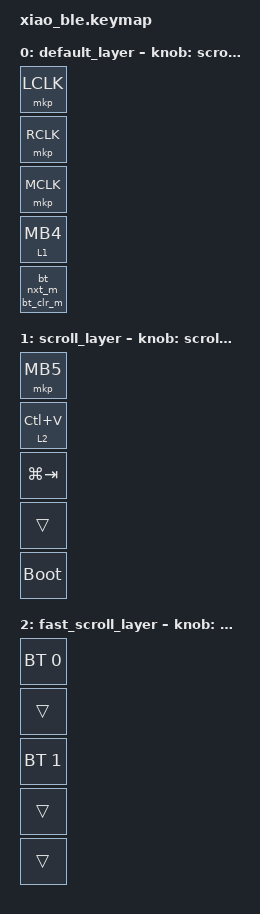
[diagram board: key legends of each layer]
#include <behaviors.dtsi>
#include <dt-bindings/zmk/keys.h>
#include <dt-bindings/zmk/bt.h>
#include <dt-bindings/zmk/pointing.h>

/ {
    // ==========================================================
    // Combos / 同時押しコンボ設定
    // ==========================================================
    combos {
        compatible = "zmk,combos";

        // Layer 0: Left Click + Right Click = Copy (Ctrl + C)
        // レイヤー0：左クリック ＋ 右クリック ＝ コピー (Ctrl + C)
        combo_copy {
            timeout-ms = <50>;
            key-positions = <0 1>; // 0: LCLK, 1: RCLK
            bindings = <&kp LC(C)>;
            layers = <0>;
        };

        // Layer 1 (While holding Side): Left Click + Right Click = Snipping Tool (Win + Shift + S)
        // レイヤー1（サイド押下中）：左右同時押し ＝ スニッピングツール (Win + Shift + S)
        combo_snip {
            timeout-ms = <50>;
            key-positions = <0 1>; // 0: LCLK, 1: RCLK
            bindings = <&snipping_tool>;
            layers = <1>;
        };
    };

    // ==========================================================
    // Macros / マクロ定義
    // ==========================================================
    macros {
        // Snipping Tool Macro (Guarantees modifier hold sequence for Windows)
        // スニッピングツール専用マクロ（修飾キーの同時押し順序を保証）
        snipping_tool: snipping_tool_macro {
            compatible = "zmk,behavior-macro";
            #binding-cells = <0>;
            wait-ms = <10>;
            tap-ms = <20>;
            bindings
                = <&macro_press &kp LGUI &kp LSHFT>
                , <&macro_tap &kp S>
                , <&macro_release &kp LGUI &kp LSHFT>;
        };

        // Next Bluetooth profile macro
        // 次のBluetoothプロファイルへ切り替え
        bt_nxt_m: bt_nxt_macro {
            compatible = "zmk,behavior-macro";
            #binding-cells = <0>;
            bindings = <&bt BT_NXT>;
        };

        // Clear current Bluetooth profile macro
        // 現在のBluetoothプロファイルのペアリング解除
        bt_clr_m: bt_clr_macro {
            compatible = "zmk,behavior-macro";
            #binding-cells = <0>;
            bindings = <&bt BT_CLR>;
        };
    };

    // ==========================================================
    // Custom Behaviors / カスタム動作定義
    // ==========================================================
    behaviors {
        // SW4 (Side): Tap for MB4 (Back), Hold for Layer 1
        // SW4（サイド）：単押しで「戻る(MB4)」、長押し中はレイヤー1へ移行
        lt_mkp: layer_tap_mouse_kp {
            compatible = "zmk,behavior-hold-tap";
            #binding-cells = <2>;
            flavor = "tap-preferred";
            tapping-term-ms = <180>;
            bindings = <&mo>, <&mkp>;
        };

        // In Layer 1: Tap for Paste (Ctrl+V), Hold for Layer 2
        // レイヤー1内：右クリック単押しでペースト(Ctrl+V)、長押しでレイヤー2へ
        lt_paste_layer2: layer_tap_paste_layer2 {
            compatible = "zmk,behavior-hold-tap";
            #binding-cells = <2>;
            flavor = "tap-preferred";
            tapping-term-ms = <180>;
            bindings = <&mo>, <&kp>;
        };

        // SW5 (Mode): Tap for Next BT Profile, Hold (2 sec) to Clear Profile
        // SW5（モード）：短押しで次の接続先へ、2秒長押しでペアリング解除
        bt_mode: bt_mode_hold_tap {
            compatible = "zmk,behavior-hold-tap";
            #binding-cells = <2>;
            flavor = "hold-preferred";
            tapping-term-ms = <2000>;
            bindings = <&bt_clr_m>, <&bt_nxt_m>;
        };

        // Encoder scroll behaviors using ZMK v0.4 native &msc
        // エンコーダ用スクロール動作（ZMK v0.4標準 &msc 使用）
        scroll_up_down: behavior_sensor_rotate_mouse_wheel_up_down {
            compatible = "zmk,behavior-sensor-rotate";
            #sensor-binding-cells = <0>;
            bindings = <&msc SCRL_UP>, <&msc SCRL_DOWN>;
            tap-ms = <20>;
        };

        scroll_left_right: behavior_sensor_rotate_mouse_wheel_left_right {
            compatible = "zmk,behavior-sensor-rotate";
            #sensor-binding-cells = <0>;
            bindings = <&msc SCRL_LEFT>, <&msc SCRL_RIGHT>;
            tap-ms = <20>;
        };
    };

    // ==========================================================
    // Keymap Layers / キーマップ定義
    // ==========================================================
    keymap {
        compatible = "zmk,keymap";

        // Layer 0: Default / 通常モード
        default_layer {
            bindings = <
                &mkp LCLK       // 0: Left Click / 左クリック
                &mkp RCLK       // 1: Right Click / 右クリック
                &mkp MCLK       // 2: Middle Click / 中クリック
                &lt_mkp 1 MB4   // 3: Side Switch (Tap: Back MB4 / Hold: Layer 1)
                &bt_mode 0 0    // 4: Mode Switch (Tap: Next BT / Hold 2s: Clear BT)
            >;
            sensor-bindings = <&scroll_up_down>;
        };

        // Layer 1: Navigation Layer / ナビゲーションレイヤー（サイドボタン長押し中）
        scroll_layer {
            bindings = <
                &mkp MB5                    // 0: Side + LCLK: Forward (MB5) / 進む
                &lt_paste_layer2 2 LC(V)    // 1: Side + RCLK (Tap: Paste Ctrl+V / Hold: Layer 2)
                &kp LG(TAB)                 // 2: Side + MCLK: Task View (Win + Tab)
                &trans                      // 3: Side Button (Transparent)
                &bootloader                 // 4: Mode Button: DFU Bootloader Mode / 書込モード
            >;
            sensor-bindings = <&scroll_left_right>;
        };

        // Layer 2: System & Profile Layer / システム・BT切替レイヤー（サイド ＋ 右クリック長押し中）
        fast_scroll_layer {
            bindings = <
                &bt BT_SEL 0     // 0: Side + RCLK + LCLK: Select Profile 0
                &trans           // 1: Transparent
                &bt BT_SEL 1     // 2: Side + RCLK + MCLK: Select Profile 1
                &trans           // 3: Transparent
                &trans           // 4: Transparent
            >;
            sensor-bindings = <&scroll_up_down>;
        };
    };
};
